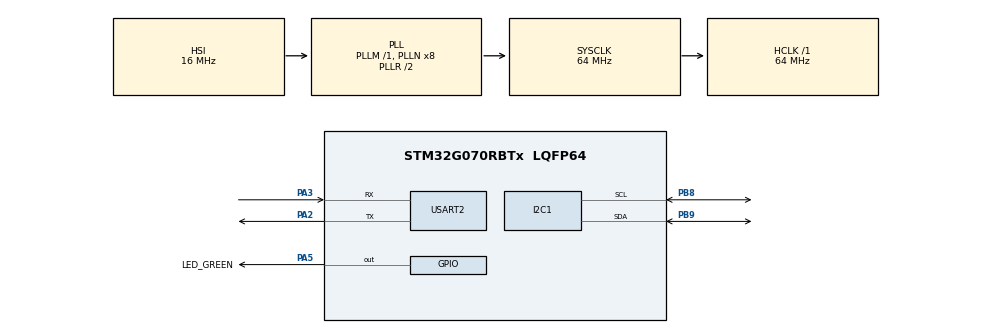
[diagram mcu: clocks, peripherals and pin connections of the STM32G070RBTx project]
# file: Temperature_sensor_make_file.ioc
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I2C1.Timing=0x10707DBC
Mcu.Family=STM32G0
Mcu.Name=STM32G070RBTx
Mcu.Package=LQFP64
PA13.GPIO_Label=TMS
PA13.Mode=Serial_Wire
PA13.Signal=SYS_SWDIO
PA14-BOOT0.GPIO_Label=TCK
PA14-BOOT0.Mode=Serial_Wire
PA14-BOOT0.Signal=SYS_SWCLK
PA2.GPIO_PuPd=GPIO_PULLUP
PA2.Mode=Asynchronous
PA2.Signal=USART2_TX
PA3.GPIO_PuPd=GPIO_PULLUP
PA3.Mode=Asynchronous
PA3.Signal=USART2_RX
PA5.GPIO_Label=LED_GREEN
PA5.GPIO_Speed=GPIO_SPEED_FREQ_HIGH
PA5.Signal=GPIO_Output
PB8.Mode=I2C
PB8.Signal=I2C1_SCL
PB9.Mode=I2C
PB9.Signal=I2C1_SDA
PC13.Mode=SYS_WakeUp1
PC13.Signal=SYS_WKUP2
PC14-OSC32_IN\ (PC14).Mode=LSE-External-Oscillator
PC14-OSC32_IN\ (PC14).Signal=RCC_OSC32_IN
PC15-OSC32_OUT\ (PC15).Mode=LSE-External-Oscillator
PC15-OSC32_OUT\ (PC15).Signal=RCC_OSC32_OUT
PF0-OSC_IN\ (PF0).GPIO_Label=MCO
PF0-OSC_IN\ (PF0).Mode=HSE-External-Clock-Source
PF0-OSC_IN\ (PF0).Signal=RCC_OSC_IN
ProjectManager.HeapSize=0x200
ProjectManager.StackSize=0x400
ProjectManager.TargetToolchain=Makefile
RCC.ADCFreq_Value=64000000
RCC.AHBFreq_Value=64000000
RCC.CortexFreq_Value=64000000
RCC.EXTERNAL_CLOCK_VALUE=12288000
RCC.HCLKFreq_Value=64000000
RCC.HSE_VALUE=8000000
RCC.HSI_VALUE=16000000
RCC.SYSCLKFreq_VALUE=64000000
RCC.SYSCLKSource=RCC_SYSCLKSOURCE_PLLCLK
RCC.VCOOutputFreq_Value=128000000
USART2.VirtualMode-Asynchronous=VM_ASYNC
USART2.WordLength=WORDLENGTH_8B
VP_SYS_VS_DBSignals.Mode=DisableDeadBatterySignals
board=NUCLEO-G070RB

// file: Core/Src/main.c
/* USER CODE BEGIN Header */
/**
  ******************************************************************************
  * @file           : main.c
  * @brief          : Main program body
  ******************************************************************************
  * @attention
  *
  * Copyright (c) 2024 STMicroelectronics.
  * All rights reserved.
  *
  * This software is licensed under terms that can be found in the LICENSE file
  * in the root directory of this software component.
  * If no LICENSE file comes with this software, it is provided AS-IS.
  *
  ******************************************************************************
  */
/* USER CODE END Header */
#include "main.h"

/* USER CODE BEGIN Includes */
#include <string.h>
#include <stdlib.h>
#include <stdio.h>

/* USER CODE END Includes */

/* USER CODE BEGIN PD */
#define bmp_addr 0x77 << 1
#define wr_reg  0xF4
#define tmp_cmd 0x2E
#define temp_addr_msb 0xF6
#define temp_addr_lsb 0xF7

#define ac6_msb 0xB4
#define ac6_lsb 0xB5
#define ac5_msb 0xB2
#define ac5_lsb 0xB3
#define mc_msb 0xBC
#define mc_lsb 0xBD
#define md_msb 0xBE
#define md_lsb 0xBF

#define tmp_delay 5

/* USER CODE END PD */

I2C_HandleTypeDef hi2c1;

UART_HandleTypeDef huart2;

void SystemClock_Config(void);
static void MX_GPIO_Init(void);
static void MX_I2C1_Init(void);
static void MX_USART2_UART_Init(void);

/* USER CODE BEGIN PFP */
uint8_t read_reg(uint8_t r_addr);
void write_reg(uint8_t w_addr, uint8_t w_cmd);
uint16_t read_2reg(uint8_t r_addr);
/* USER CODE END PFP */

int main(void)
{

  /* USER CODE BEGIN 1 */
  float temp;
  uint8_t hold[50];
  int32_t ut;
  uint16_t ac5;
  uint16_t ac6;
  int16_t mc;
  int16_t md;

  int32_t x1;
  int32_t x1g;
  int32_t x2;
  int32_t b5;
  int32_t t_val;

  /* USER CODE END 1 */

  /* MCU Configuration--------------------------------------------------------*/

  /* Reset of all peripherals, Initializes the Flash interface and the Systick. */
  HAL_Init();

  /* Configure the system clock */
  SystemClock_Config();

  /* Initialize all configured peripherals */
  MX_GPIO_Init();
  MX_I2C1_Init();
  MX_USART2_UART_Init();
  /* USER CODE BEGIN 2 */
  ac6 = read_2reg(ac6_msb);
  ac5 = read_2reg(ac5_msb);
  mc =  read_2reg(mc_msb);
  md =  read_2reg(md_msb);

  /* USER CODE END 2 */

  /* Infinite loop */
  /* USER CODE BEGIN WHILE */
  while (1)
  {

    write_reg(wr_reg,tmp_cmd);
    HAL_Delay(tmp_delay);
    ut = read_2reg(temp_addr_msb);

    x1    = ((ut - (int32_t)ac6)*((int32_t)ac5)>>15);
    x1g    = (ut - (int32_t)ac6) * ((int32_t)ac5) >> 15;
    x2    = (((int32_t)mc<<11)/(x1+(int32_t)md));
    b5    = x1+x2;
    t_val = ((b5+8)>>4);
    temp  = (float)t_val;
    temp  =temp/10;

    sprintf((char*)hold," %u \r\n",(uint8_t)temp);

    HAL_UART_Transmit(&huart2,hold,strlen((char*)hold),HAL_MAX_DELAY);
    HAL_Delay(1000);
    /* USER CODE END WHILE */

  }
}

void SystemClock_Config(void)
{
  RCC_OscInitTypeDef RCC_OscInitStruct = {0};
  RCC_ClkInitTypeDef RCC_ClkInitStruct = {0};

  /** Configure the main internal regulator output voltage
  */
  HAL_PWREx_ControlVoltageScaling(PWR_REGULATOR_VOLTAGE_SCALE1);

  /** Initializes the RCC Oscillators according to the specified parameters
  * in the RCC_OscInitTypeDef structure.
  */
  RCC_OscInitStruct.OscillatorType = RCC_OSCILLATORTYPE_HSI;
  RCC_OscInitStruct.HSIState = RCC_HSI_ON;
  RCC_OscInitStruct.HSIDiv = RCC_HSI_DIV1;
  RCC_OscInitStruct.HSICalibrationValue = RCC_HSICALIBRATION_DEFAULT;
  RCC_OscInitStruct.PLL.PLLState = RCC_PLL_ON;
  RCC_OscInitStruct.PLL.PLLSource = RCC_PLLSOURCE_HSI;
  RCC_OscInitStruct.PLL.PLLM = RCC_PLLM_DIV1;
  RCC_OscInitStruct.PLL.PLLN = 8;
  RCC_OscInitStruct.PLL.PLLP = RCC_PLLP_DIV2;
  RCC_OscInitStruct.PLL.PLLR = RCC_PLLR_DIV2;
  if (HAL_RCC_OscConfig(&RCC_OscInitStruct) != HAL_OK)
  {
    Error_Handler();
  }

  /** Initializes the CPU, AHB and APB buses clocks
  */
  RCC_ClkInitStruct.ClockType = RCC_CLOCKTYPE_HCLK|RCC_CLOCKTYPE_SYSCLK
                              |RCC_CLOCKTYPE_PCLK1;
  RCC_ClkInitStruct.SYSCLKSource = RCC_SYSCLKSOURCE_PLLCLK;
  RCC_ClkInitStruct.AHBCLKDivider = RCC_SYSCLK_DIV1;
  RCC_ClkInitStruct.APB1CLKDivider = RCC_HCLK_DIV1;

  if (HAL_RCC_ClockConfig(&RCC_ClkInitStruct, FLASH_LATENCY_2) != HAL_OK)
  {
    Error_Handler();
  }
}

static void MX_I2C1_Init(void)
{

  hi2c1.Instance = I2C1;
  hi2c1.Init.Timing = 0x10707DBC;
  hi2c1.Init.OwnAddress1 = 0;
  hi2c1.Init.AddressingMode = I2C_ADDRESSINGMODE_7BIT;
  hi2c1.Init.DualAddressMode = I2C_DUALADDRESS_DISABLE;
  hi2c1.Init.OwnAddress2 = 0;
  hi2c1.Init.OwnAddress2Masks = I2C_OA2_NOMASK;
  hi2c1.Init.GeneralCallMode = I2C_GENERALCALL_DISABLE;
  hi2c1.Init.NoStretchMode = I2C_NOSTRETCH_DISABLE;
  if (HAL_I2C_Init(&hi2c1) != HAL_OK)
  {
    Error_Handler();
  }

  /** Configure Analogue filter
  */
  if (HAL_I2CEx_ConfigAnalogFilter(&hi2c1, I2C_ANALOGFILTER_ENABLE) != HAL_OK)
  {
    Error_Handler();
  }

  /** Configure Digital filter
  */
  if (HAL_I2CEx_ConfigDigitalFilter(&hi2c1, 0) != HAL_OK)
  {
    Error_Handler();
  }

}

static void MX_USART2_UART_Init(void)
{

  huart2.Instance = USART2;
  huart2.Init.BaudRate = 115200;
  huart2.Init.WordLength = UART_WORDLENGTH_8B;
  huart2.Init.StopBits = UART_STOPBITS_1;
  huart2.Init.Parity = UART_PARITY_NONE;
  huart2.Init.Mode = UART_MODE_TX_RX;
  huart2.Init.HwFlowCtl = UART_HWCONTROL_NONE;
  huart2.Init.OverSampling = UART_OVERSAMPLING_16;
  huart2.Init.OneBitSampling = UART_ONE_BIT_SAMPLE_DISABLE;
  huart2.Init.ClockPrescaler = UART_PRESCALER_DIV1;
  huart2.AdvancedInit.AdvFeatureInit = UART_ADVFEATURE_NO_INIT;
  if (HAL_UART_Init(&huart2) != HAL_OK)
  {
    Error_Handler();
  }
  if (HAL_UARTEx_SetTxFifoThreshold(&huart2, UART_TXFIFO_THRESHOLD_1_8) != HAL_OK)
  {
    Error_Handler();
  }
  if (HAL_UARTEx_SetRxFifoThreshold(&huart2, UART_RXFIFO_THRESHOLD_1_8) != HAL_OK)
  {
    Error_Handler();
  }
  if (HAL_UARTEx_DisableFifoMode(&huart2) != HAL_OK)
  {
    Error_Handler();
  }

}

static void MX_GPIO_Init(void)
{
  GPIO_InitTypeDef GPIO_InitStruct = {0};

  /* GPIO Ports Clock Enable */
  __HAL_RCC_GPIOC_CLK_ENABLE();
  __HAL_RCC_GPIOF_CLK_ENABLE();
  __HAL_RCC_GPIOA_CLK_ENABLE();
  __HAL_RCC_GPIOB_CLK_ENABLE();

  /*Configure GPIO pin Output Level */
  HAL_GPIO_WritePin(LED_GREEN_GPIO_Port, LED_GREEN_Pin, GPIO_PIN_RESET);

  /*Configure GPIO pin : LED_GREEN_Pin */
  GPIO_InitStruct.Pin = LED_GREEN_Pin;
  GPIO_InitStruct.Mode = GPIO_MODE_OUTPUT_PP;
  GPIO_InitStruct.Pull = GPIO_NOPULL;
  GPIO_InitStruct.Speed = GPIO_SPEED_FREQ_HIGH;
  HAL_GPIO_Init(LED_GREEN_GPIO_Port, &GPIO_InitStruct);

}

/* USER CODE BEGIN 4 */
// read from a specific register on the bmp180 via i2c
uint8_t read_reg(uint8_t r_addr){
  uint8_t ret;
  ret = r_addr;

  HAL_I2C_Master_Transmit(&hi2c1,bmp_addr,&ret,1,HAL_MAX_DELAY);
  HAL_I2C_Master_Receive(&hi2c1,bmp_addr,&ret,1,HAL_MAX_DELAY);

return ret;
}

void write_reg(uint8_t w_addr, uint8_t w_cmd){
  uint8_t w_buf[2];
  w_buf[0] = w_addr;
  w_buf[1] = w_cmd;
  HAL_I2C_Master_Transmit(&hi2c1,bmp_addr,w_buf,2,HAL_MAX_DELAY);
}

uint16_t read_2reg(uint8_t r_addr){
  uint8_t r_buf[2];
  uint16_t res;
  r_buf[0] = r_addr;
  HAL_I2C_Master_Transmit(&hi2c1,bmp_addr,r_buf,1,HAL_MAX_DELAY);
  HAL_I2C_Master_Receive(&hi2c1,bmp_addr,r_buf,2,HAL_MAX_DELAY);
  res = r_buf[1] | (r_buf[0] << 8);
  return res;
}
/* USER CODE END 4 */

void Error_Handler(void)
{
  __disable_irq();
  while (1)
  {
  }
}
